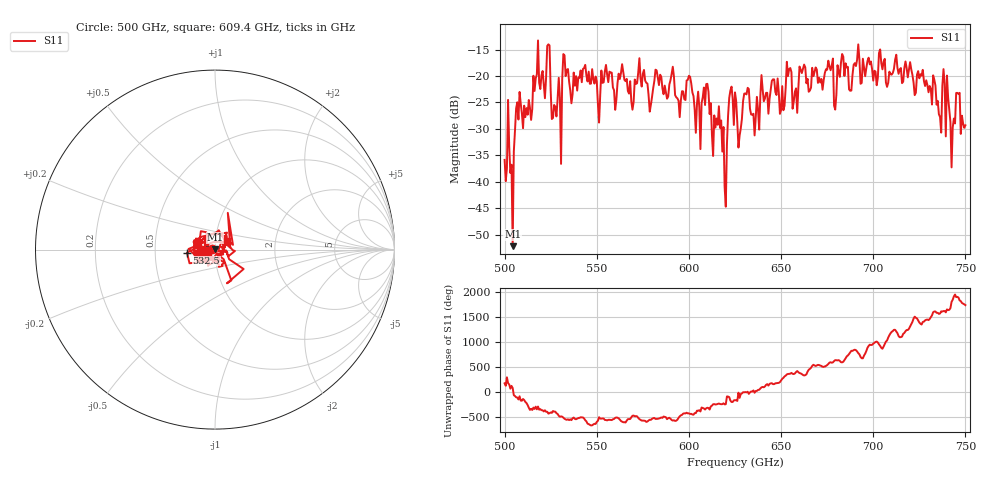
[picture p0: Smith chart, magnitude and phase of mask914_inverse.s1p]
!Created with skrf (http://scikit-rf.org).
# GHz S MA R 50.0
!freq magS11 angS11
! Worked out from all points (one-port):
!   401 points, 500 GHz to 750 GHz, reference 50 ohm
!   lowest |S11| = -52.2 dB at 504.4 GHz (marker M1), VSWR 1.00, Z = 50 + j0.244 ohm
!   |S11| at or under -10 dB: start of sweep to end of sweep
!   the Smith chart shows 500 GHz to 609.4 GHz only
!   S11 on the Smith chart (normalised r, x): 500 GHz: 0.97, +0.00; 532.5 GHz: 0.73, -0.03; 609.4 GHz: 1.14, +0.11
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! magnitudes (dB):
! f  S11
! 500 GHz  -35.9
! 504.4 GHz  -52.2
! 507.5 GHz  -28.2
! 513.8 GHz  -26.0
! 516.9 GHz  -20.5
! 523.8 GHz  -14.0
! 526.9 GHz  -25.5
! 531.2 GHz  -20.6
! 532.5 GHz  -16.1
! 550.6 GHz  -25.3
! 562.5 GHz  -20.6
! 579.4 GHz  -25.4
! 590.6 GHz  -19.6
! 593.8 GHz  -24.2
! 600 GHz  -20.0
! 605 GHz  -23.0
! 609.4 GHz  -21.5
! 617.5 GHz  -28.4
! 619.4 GHz  -41.0
! 622.5 GHz  -22.8
! 625 GHz  -23.1
! 627.5 GHz  -31.3
! 631.2 GHz  -23.5
! 635 GHz  -27.2
! 656.2 GHz  -26.2
! 687.5 GHz  -22.8
! 718.8 GHz  -20.3
! 750 GHz  -29.3
